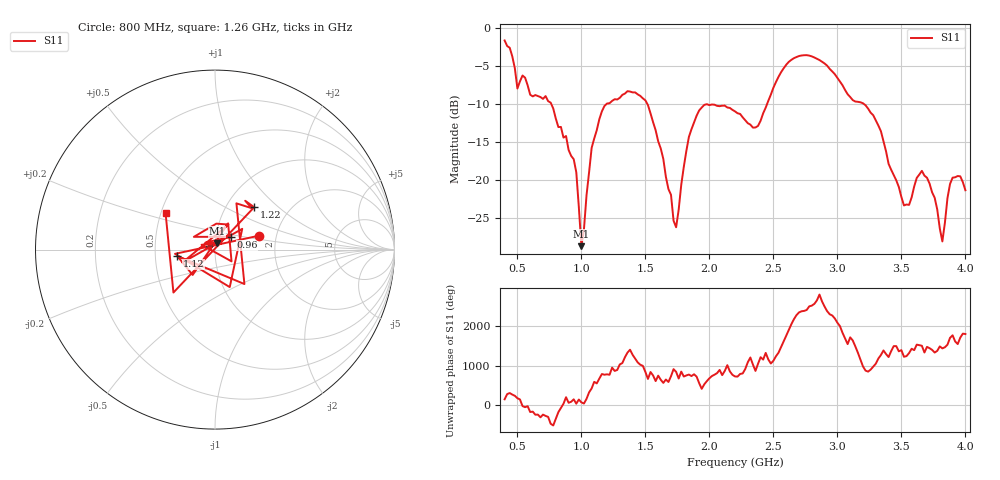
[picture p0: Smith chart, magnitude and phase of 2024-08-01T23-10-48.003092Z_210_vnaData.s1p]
!Created with skrf (http://scikit-rf.org).
# Hz S RI R 50.0
!freq ReS11 ImS11
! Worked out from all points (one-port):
!   181 points, 400 MHz to 4 GHz, reference 50 ohm
!   lowest |S11| = -28.7 dB at 1 GHz (marker M1), VSWR 1.08, Z = 51 + j3.58 ohm
!   |S11| at or under -10 dB: 1.517 GHz to 1.977 GHz (460.2 MHz wide, 26.3 % of centre); 1.982 GHz to 2.45 GHz (467.5 MHz wide, 21.1 % of centre); 3.21 GHz to end of sweep (the widest 3 of 4)
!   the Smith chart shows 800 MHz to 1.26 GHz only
!   S11 on the Smith chart (normalised r, x): 800 MHz: 1.61, +0.27; 960 MHz: 1.18, +0.17; 1.12 GHz: 0.65, -0.05; 1.22 GHz: 1.34, +0.71; 1.26 GHz: 0.53, +0.24
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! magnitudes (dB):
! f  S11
! 400 MHz  -1.6
! 500 MHz  -7.9
! 540 MHz  -6.2
! 800 MHz  -11.9
! 860 MHz  -14.4
! 960 MHz  -18.9
! 1 GHz  -28.7
! 1.08 GHz  -15.7
! 1.12 GHz  -13.4
! 1.22 GHz  -9.9
! 1.26 GHz  -9.3
! 1.3 GHz  -9.1
! 1.52 GHz  -10.1
! 1.72 GHz  -25.3
! 1.76 GHz  -23.9
! 1.84 GHz  -14.3
! 1.92 GHz  -10.8
! 2.2 GHz  -10.9
! 2.38 GHz  -12.8
! 2.66 GHz  -3.9
! 3.1 GHz  -9.0
! 3.28 GHz  -11.4
! 3.56 GHz  -23.2
! 3.66 GHz  -18.8
! 3.76 GHz  -22.3
! 3.82 GHz  -28.0
! 3.9 GHz  -19.7
! 4 GHz  -21.3
